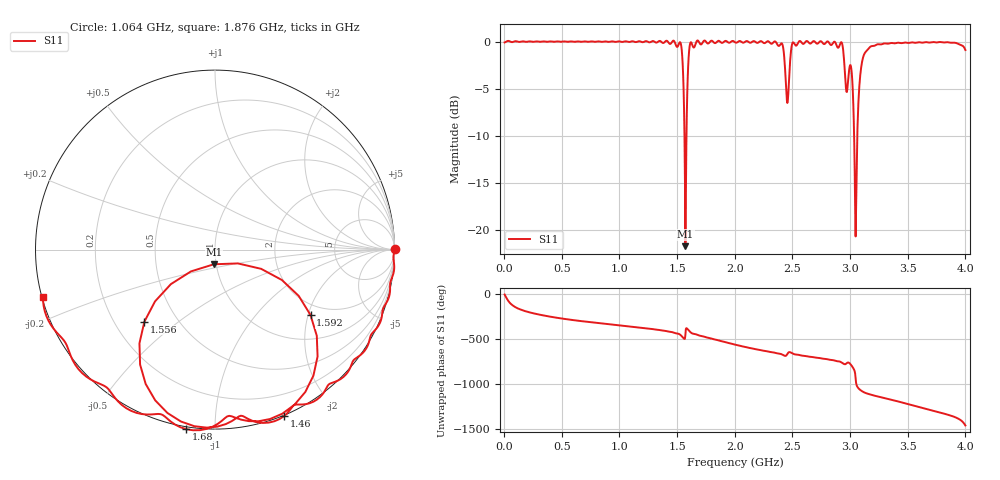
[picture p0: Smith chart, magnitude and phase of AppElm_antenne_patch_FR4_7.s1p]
! TOUCHSTONE file generated by CST MICROWAVE STUDIO
! Date and time: Tue Jun  7 21:31:19 2022
! Project name: AppElm_antenne_patch_FR4.cst
! Parameters = {L=45; W=58.5; e=0.035; h=1.6; lambda=0.190476; ls=120; w0=1.68; w1=0.533; ws=120; y0=20; y1=23.81}
! Header version: 2018
! Port assignment regex: !\s*Touchstone port\s*([0-9]+)\s*=\s*(CST MWS port|CST DS port)\s*([0-9]+|Zmin|Zmax)\s*\(\"(.*)\"\)(\s*mode\s*([0-9]+))?.*
! Touchstone port assignment:
! Touchstone port 1 = CST MWS port 1 ("")
# GHz S MA R 50
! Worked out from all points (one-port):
!   1000 points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, 4 MHz to 4 GHz, reference 50 ohm
!   lowest |S11| = -21.7 dB at 1.572 GHz (marker M1), VSWR 1.18, Z = 48.7 - j8.02 ohm
!   |S11| at or under -10 dB: 1.564 GHz to 1.581 GHz (17.47 MHz wide, 1.11 % of centre); 3.035 GHz to 3.062 GHz (27.58 MHz wide, 0.905 % of centre)
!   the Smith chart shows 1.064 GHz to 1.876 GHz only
!   S11 on the Smith chart (normalised r, x): 1.064 GHz: open; 1.46 GHz: -0.01, -1.49; 1.556 GHz: 0.33, -0.38; 1.592 GHz: 1.66, -2.07; 1.68 GHz: -0.01, -0.85; 1.876 GHz: 0.00, -0.14
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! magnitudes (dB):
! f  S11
! 4 MHz  -0.1
! 504 MHz  0.0
! 1.004 GHz  0.0
! 1.064 GHz  0.0
! 1.46 GHz  0.0
! 1.504 GHz  -0.5
! 1.536 GHz  -0.5
! 1.556 GHz  -5.0
! 1.572 GHz  -21.7
! 1.592 GHz  -3.8
! 1.604 GHz  -1.0
! 1.616 GHz  -0.1
! 1.68 GHz  0.1
! 1.876 GHz  0.0
! 2.004 GHz  -0.1
! 2.4 GHz  -0.2
! 2.456 GHz  -6.5
! 2.504 GHz  -0.1
! 2.92 GHz  -0.1
! 2.968 GHz  -5.3
! 3.004 GHz  -2.5
! 3.016 GHz  -3.6
! 3.036 GHz  -10.7
! 3.052 GHz  -17.7
! 3.088 GHz  -3.6
! 3.128 GHz  -1.2
! 3.504 GHz  -0.1
! 4 GHz  -0.9
